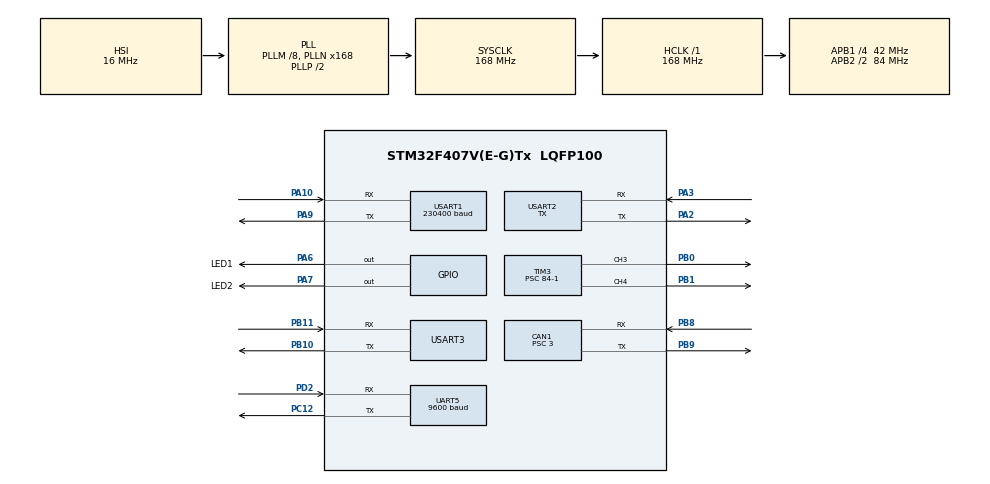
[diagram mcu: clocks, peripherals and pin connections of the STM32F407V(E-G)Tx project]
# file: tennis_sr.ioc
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CAN1.ABOM=ENABLE
CAN1.AWUM=ENABLE
CAN1.BS1=CAN_BS1_11TQ
CAN1.BS2=CAN_BS2_2TQ
CAN1.CalculateBaudRate=1000000
CAN1.CalculateTimeBit=1000
CAN1.CalculateTimeQuantum=71.42857142857143
CAN1.NART=ENABLE
CAN1.Prescaler=3
Dma.Request0=USART3_RX
Dma.USART3_RX.0.Direction=DMA_PERIPH_TO_MEMORY
Dma.USART3_RX.0.FIFOMode=DMA_FIFOMODE_DISABLE
Dma.USART3_RX.0.Instance=DMA1_Stream1
Dma.USART3_RX.0.MemDataAlignment=DMA_MDATAALIGN_BYTE
Dma.USART3_RX.0.MemInc=DMA_MINC_ENABLE
Dma.USART3_RX.0.Mode=DMA_NORMAL
Dma.USART3_RX.0.PeriphDataAlignment=DMA_PDATAALIGN_BYTE
Dma.USART3_RX.0.PeriphInc=DMA_PINC_DISABLE
Dma.USART3_RX.0.Priority=DMA_PRIORITY_LOW
FREERTOS.INCLUDE_vTaskDelayUntil=1
FREERTOS.Tasks01=imu_Task,0,512,Start_imu_Task,Default,NULL,Dynamic,NULL,NULL;chassis_Task,-3,512,Start_chassis_Task,Default,NULL,Dynamic,NULL,NULL;launcher_Task,-3,512,Start_launcher_Task,Default,NULL,Dynamic,NULL,NULL;can_Task,-3,512,Start_can_task,Default,NULL,Dynamic,NULL,NULL
Mcu.Family=STM32F4
Mcu.Name=STM32F407V(E-G)Tx
Mcu.Package=LQFP100
NVIC.CAN1_RX0_IRQn=true\:7\:0\:true\:false\:true\:true\:true\:true\:true
NVIC.DMA1_Stream1_IRQn=true\:5\:0\:false\:false\:true\:true\:false\:true\:true
NVIC.PriorityGroup=NVIC_PRIORITYGROUP_4
NVIC.TIM7_IRQn=true\:15\:0\:false\:false\:true\:false\:false\:true\:true
NVIC.TimeBase=TIM7_IRQn
NVIC.TimeBaseIP=TIM7
NVIC.UART5_IRQn=true\:5\:0\:false\:false\:true\:true\:true\:true\:true
NVIC.USART1_IRQn=true\:5\:0\:true\:false\:true\:true\:true\:true\:true
NVIC.USART3_IRQn=true\:12\:0\:true\:false\:true\:true\:true\:true\:true
PA10.Mode=Asynchronous
PA10.Signal=USART1_RX
PA2.Mode=Asynchronous
PA2.Signal=USART2_TX
PA3.Mode=Asynchronous
PA3.Signal=USART2_RX
PA6.GPIO_Label=LED1
PA6.PinState=GPIO_PIN_SET
PA6.Signal=GPIO_Output
PA7.GPIO_Label=LED2
PA7.PinState=GPIO_PIN_SET
PA7.Signal=GPIO_Output
PA9.Mode=Asynchronous
PA9.Signal=USART1_TX
PB0.Signal=S_TIM3_CH3
PB1.Signal=S_TIM3_CH4
PB10.Mode=Asynchronous
PB10.Signal=USART3_TX
PB11.Mode=Asynchronous
PB11.Signal=USART3_RX
PB8.Mode=CAN_Activate
PB8.Signal=CAN1_RX
PB9.Mode=CAN_Activate
PB9.Signal=CAN1_TX
PC12.Mode=Asynchronous
PC12.Signal=UART5_TX
PC14-OSC32_IN.Mode=LSE-External-Oscillator
PC14-OSC32_IN.Signal=RCC_OSC32_IN
PC15-OSC32_OUT.Mode=LSE-External-Oscillator
PC15-OSC32_OUT.Signal=RCC_OSC32_OUT
PD2.Mode=Asynchronous
PD2.Signal=UART5_RX
PH0-OSC_IN.Mode=HSE-External-Oscillator
PH0-OSC_IN.Signal=RCC_OSC_IN
PH1-OSC_OUT.Mode=HSE-External-Oscillator
PH1-OSC_OUT.Signal=RCC_OSC_OUT
ProjectManager.HeapSize=0x200
ProjectManager.StackSize=0x400
ProjectManager.TargetToolchain=MDK-ARM V5.32
RCC.48MHZClocksFreq_Value=84000000
RCC.AHBFreq_Value=168000000
RCC.APB1CLKDivider=RCC_HCLK_DIV4
RCC.APB1Freq_Value=42000000
RCC.APB1TimFreq_Value=84000000
RCC.APB2CLKDivider=RCC_HCLK_DIV2
RCC.APB2Freq_Value=84000000
RCC.APB2TimFreq_Value=168000000
RCC.CortexFreq_Value=168000000
RCC.HCLKFreq_Value=168000000
RCC.HSE_VALUE=8000000
RCC.HSI_VALUE=16000000
RCC.PLLM=8
RCC.PLLN=168
RCC.SYSCLKFreq_VALUE=168000000
RCC.SYSCLKSource=RCC_SYSCLKSOURCE_PLLCLK
RCC.VCOOutputFreq_Value=336000000
SH.S_TIM3_CH3.0=TIM3_CH3,PWM Generation3 CH3
SH.S_TIM3_CH4.0=TIM3_CH4,PWM Generation4 CH4
TIM2.Prescaler=84-1
TIM3.Channel-PWM\ Generation3\ CH3=TIM_CHANNEL_3
TIM3.Channel-PWM\ Generation4\ CH4=TIM_CHANNEL_4
TIM3.Period=20000-1
TIM3.Prescaler=84-1
UART5.BaudRate=9600
UART5.VirtualMode=Asynchronous
USART1.BaudRate=230400
USART1.Mode=MODE_TX_RX
USART1.VirtualMode=VM_ASYNC
USART2.Mode=MODE_TX
USART2.VirtualMode=VM_ASYNC
USART3.VirtualMode=VM_ASYNC
VP_FREERTOS_VS_CMSIS_V1.Mode=CMSIS_V1
VP_SYS_VS_tim7.Mode=TIM7
VP_TIM2_VS_ClockSourceINT.Mode=Internal
VP_TIM3_VS_ClockSourceINT.Mode=Internal
board=custom

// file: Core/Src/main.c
/* USER CODE BEGIN Header */
/**
  ******************************************************************************
  * @file           : main.c
  * @brief          : Main program body
  ******************************************************************************
  * @attention
  *
  * Copyright (c) 2026 STMicroelectronics.
  * All rights reserved.
  *
  * This software is licensed under terms that can be found in the LICENSE file
  * in the root directory of this software component.
  * If no LICENSE file comes with this software, it is provided AS-IS.
  *
  ******************************************************************************
  */
/* USER CODE END Header */
#include "main.h"
#include "cmsis_os.h"
#include "can.h"
#include "dma.h"
#include "tim.h"
#include "usart.h"
#include "gpio.h"

/* USER CODE BEGIN Includes */
#include "system.h"
#include "can_fifo.h"
#include "oid.h"
#include "pressure.h"

/* USER CODE END Includes */

void SystemClock_Config(void);
void MX_FREERTOS_Init(void);

int main(void)
{

  /* MCU Configuration--------------------------------------------------------*/

  /* Reset of all peripherals, Initializes the Flash interface and the Systick. */
  HAL_Init();

  /* Configure the system clock */
  SystemClock_Config();

  /* USER CODE BEGIN SysInit */
  can_fifo_init();

  /* USER CODE END SysInit */

  /* Initialize all configured peripherals */
  MX_GPIO_Init();
  MX_DMA_Init();
  MX_USART1_UART_Init();
  MX_USART3_UART_Init();
  MX_USART2_UART_Init();
  MX_UART5_Init();
  MX_CAN1_Init();
  MX_TIM3_Init();
  MX_TIM2_Init();
  /* USER CODE BEGIN 2 */
  /* Application modules are initialized before the RTOS starts. */
  flash_read_application_data();
  Pressure_Init(pressure_data);
  PidCtl_Init();
  oid_init();
  encoder_init();
  // servo_init(SERVO_1);
  // servo_init(SERVO_2);
  imu_init();
  /* USER CODE END 2 */

  /* Call init function for freertos objects (in cmsis_os2.c) */
  MX_FREERTOS_Init();

  /* Start scheduler */
  osKernelStart();

  /* We should never get here as control is now taken by the scheduler */

  /* Infinite loop */
  while (1)
  {

  }
}

void SystemClock_Config(void)
{
  RCC_OscInitTypeDef RCC_OscInitStruct = {0};
  RCC_ClkInitTypeDef RCC_ClkInitStruct = {0};

  /** Configure the main internal regulator output voltage
  */
  __HAL_RCC_PWR_CLK_ENABLE();
  __HAL_PWR_VOLTAGESCALING_CONFIG(PWR_REGULATOR_VOLTAGE_SCALE1);

  /** Initializes the RCC Oscillators according to the specified parameters
  * in the RCC_OscInitTypeDef structure.
  */
  RCC_OscInitStruct.OscillatorType = RCC_OSCILLATORTYPE_HSI;
  RCC_OscInitStruct.HSIState = RCC_HSI_ON;
  RCC_OscInitStruct.HSICalibrationValue = RCC_HSICALIBRATION_DEFAULT;
  RCC_OscInitStruct.PLL.PLLState = RCC_PLL_ON;
  RCC_OscInitStruct.PLL.PLLSource = RCC_PLLSOURCE_HSI;
  RCC_OscInitStruct.PLL.PLLM = 8;
  RCC_OscInitStruct.PLL.PLLN = 168;
  RCC_OscInitStruct.PLL.PLLP = RCC_PLLP_DIV2;
  RCC_OscInitStruct.PLL.PLLQ = 4;
  if (HAL_RCC_OscConfig(&RCC_OscInitStruct) != HAL_OK)
  {
    Error_Handler();
  }

  /** Initializes the CPU, AHB and APB buses clocks
  */
  RCC_ClkInitStruct.ClockType = RCC_CLOCKTYPE_HCLK|RCC_CLOCKTYPE_SYSCLK
                              |RCC_CLOCKTYPE_PCLK1|RCC_CLOCKTYPE_PCLK2;
  RCC_ClkInitStruct.SYSCLKSource = RCC_SYSCLKSOURCE_PLLCLK;
  RCC_ClkInitStruct.AHBCLKDivider = RCC_SYSCLK_DIV1;
  RCC_ClkInitStruct.APB1CLKDivider = RCC_HCLK_DIV4;
  RCC_ClkInitStruct.APB2CLKDivider = RCC_HCLK_DIV2;

  if (HAL_RCC_ClockConfig(&RCC_ClkInitStruct, FLASH_LATENCY_5) != HAL_OK)
  {
    Error_Handler();
  }
}

void HAL_TIM_PeriodElapsedCallback(TIM_HandleTypeDef *htim)
{
  if (htim->Instance == TIM7)
  {
    HAL_IncTick();
  }
}

void Error_Handler(void)
{
  __disable_irq();
  while (1)
  {
  }
}

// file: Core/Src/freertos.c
/* USER CODE BEGIN Header */
/**
  ******************************************************************************
  * File Name          : freertos.c
  * Description        : Code for freertos applications
  ******************************************************************************
  * @attention
  *
  * Copyright (c) 2026 STMicroelectronics.
  * All rights reserved.
  *
  * This software is licensed under terms that can be found in the LICENSE file
  * in the root directory of this software component.
  * If no LICENSE file comes with this software, it is provided AS-IS.
  *
  ******************************************************************************
  */
/* USER CODE END Header */

#include "FreeRTOS.h"
#include "task.h"
#include "main.h"
#include "cmsis_os.h"

/* USER CODE BEGIN Includes */
#include "system.h"
#include "launcher.h"
#include "oid.h"
#include "rk3588.h"
#include "imu_REG.h"
/* USER CODE END Includes */

osThreadId imu_TaskHandle;
osThreadId chassis_TaskHandle;
osThreadId launcher_TaskHandle;
osThreadId can_TaskHandle;

void Start_imu_Task(void const * argument);
void Start_chassis_Task(void const * argument);
void Start_launcher_Task(void const * argument);
void Start_can_task(void const * argument);

void MX_FREERTOS_Init(void); /* (MISRA C 2004 rule 8.1) */

/* GetIdleTaskMemory prototype (linked to static allocation support) */
void vApplicationGetIdleTaskMemory( StaticTask_t **ppxIdleTaskTCBBuffer, StackType_t **ppxIdleTaskStackBuffer, uint32_t *pulIdleTaskStackSize );

/* USER CODE BEGIN GET_IDLE_TASK_MEMORY */
static StaticTask_t xIdleTaskTCBBuffer;
static StackType_t xIdleStack[configMINIMAL_STACK_SIZE];

void vApplicationGetIdleTaskMemory( StaticTask_t **ppxIdleTaskTCBBuffer, StackType_t **ppxIdleTaskStackBuffer, uint32_t *pulIdleTaskStackSize )
{
  *ppxIdleTaskTCBBuffer = &xIdleTaskTCBBuffer;
  *ppxIdleTaskStackBuffer = &xIdleStack[0];
  *pulIdleTaskStackSize = configMINIMAL_STACK_SIZE;
  /* place for user code */
}
/* USER CODE END GET_IDLE_TASK_MEMORY */

void MX_FREERTOS_Init(void) {

  /* Create the thread(s) */
  /* definition and creation of imu_Task */
  osThreadDef(imu_Task, Start_imu_Task, osPriorityNormal, 0, 512);
  imu_TaskHandle = osThreadCreate(osThread(imu_Task), NULL);

  /* definition and creation of chassis_Task */
  osThreadDef(chassis_Task, Start_chassis_Task, osPriorityIdle, 0, 512);
  chassis_TaskHandle = osThreadCreate(osThread(chassis_Task), NULL);

  /* definition and creation of launcher_Task */
  osThreadDef(launcher_Task, Start_launcher_Task, osPriorityIdle, 0, 512);
  launcher_TaskHandle = osThreadCreate(osThread(launcher_Task), NULL);

  /* definition and creation of can_Task */
  osThreadDef(can_Task, Start_can_task, osPriorityIdle, 0, 512);
  can_TaskHandle = osThreadCreate(osThread(can_Task), NULL);

}

void Start_imu_Task(void const * argument)
{
  /* USER CODE BEGIN Start_imu_Task */
  /* Infinite loop */
  TickType_t lastWakeTime;
  const TickType_t taskPeriod = pdMS_TO_TICKS(5U);

  lastWakeTime = xTaskGetTickCount();
  /* Infinite loop */
  for(;;)
  {
    //HAL_GPIO_TogglePin(GPIOA, LED1_Pin | LED2_Pin);

    // if (imu_data_get() != 0U)
    // {
      (void)rk3588_data_send_int16x3(RK3588_CMD_IMU_GYRO, sReg[GX], sReg[GY], sReg[GZ]);
      (void)rk3588_data_send_int16x3(RK3588_CMD_IMU_ACCEL, sReg[AX], sReg[AY], sReg[AZ]);
      (void)rk3588_data_send_int16x3(RK3588_CMD_IMU_ATTITUDE, sReg[Pitch], sReg[Roll], sReg[Yaw]);
    // }

    // printf("%f,%f,%f\r\n",imu.pitch,imu.roll,imu.yaw_total);
    vTaskDelayUntil(&lastWakeTime, taskPeriod);
  }
  /* USER CODE END Start_imu_Task */
}

void Start_chassis_Task(void const * argument)
{
  /* USER CODE BEGIN Start_chassis_Task */
  TickType_t lastWakeTime;
  const TickType_t taskPeriod = pdMS_TO_TICKS(20U);

  vTaskDelay(pdMS_TO_TICKS(2000));

  lastWakeTime = xTaskGetTickCount();
  /* Infinite loop */
  for(;;)
  {

    Rk3588DataValue_t item;
    int16_t target[3];
    uint8_t chassis_enabled = (uint8_t)(rk3588_is_global_enabled() != 0U &&
        rk3588_data_is_enabled(RK3588_MANUAL_ENABLE_CHASSIS_MASK) != 0U);

    if (chassis_enabled == 0U)
    {
      (void)rk3588_data_clear(RK3588_CMD_TARGET_VELOCITY);
      R_Vel.X_target = 0.0f;
      R_Vel.Y_target = 0.0f;
      R_Vel.W_target = 0.0f;
    }
    else if (rk3588_data_get_value(RK3588_CMD_TARGET_VELOCITY, &item) &&
        item.time_info.valid && item.time_info.fresh &&
        rk3588_data_parse_int16x3(&item, target))
    {
      R_Vel.X_target = (float)target[0];
      R_Vel.Y_target = (float)target[1];
      R_Vel.W_target = (float)target[2] / 1000.0f;
    }

    // PidSet(&motor_speed_pid[0], wireless_test[6], wireless_test[7], wireless_test[8]);
    // PidSet(&motor_speed_pid[1], wireless_test[6], wireless_test[7], wireless_test[8]);
    // PidSet(&motor_speed_pid[2], wireless_test[6], wireless_test[7], wireless_test[8]);
    // PidSet(&motor_speed_pid[3], wireless_test[6], wireless_test[7], wireless_test[8]);
    // PidSet(&car_position_pid[0], wireless_test[9], wireless_test[10], wireless_test[11]);
    // PidSet(&car_position_pid[1], wireless_test[9], wireless_test[10], wireless_test[11]);
    // PidSet(&car_position_pid[2], wireless_test[9], wireless_test[10], wireless_test[11]);

      // R_Vel.X_target = 0.0f;
      // R_Vel.Y_target = 0.0f;
      // R_Vel.W_target = 0.0f;

      // R_Pos.X_global_target = (float)wireless_test[0];
      // R_Pos.Y_global_target = (float)wireless_test[1];
      // R_Pos.W_global_target = DEG_TO_RAD((float)wireless_test[2]);
    encoder_process();
    chassis_control_process(chassis_enabled);

    (void)rk3588_data_send_int16x3(RK3588_CMD_CHASSIS_VELOCITY, telemetry_float_to_int16(R_Vel.X), telemetry_float_to_int16(R_Vel.Y), telemetry_float_to_int16(R_Vel.W * 1000.0f));
    (void)rk3588_data_send_int16x3(RK3588_CMD_CHASSIS_POSITION, telemetry_float_to_int16(R_Pos.X_global / 10.0f), telemetry_float_to_int16(R_Pos.Y_global / 10.0f), telemetry_float_to_int16(R_Pos.W_global * 1000.0f));

      printf("%f,%f,%f,%f,%f,%f,%f,%f\r\n",
             R_Wheel_A.V_target, R_Wheel_A.V_real,
             R_Wheel_B.V_target, R_Wheel_B.V_real,
             R_Wheel_C.V_target, R_Wheel_C.V_real,
             R_Wheel_D.V_target, R_Wheel_D.V_real);

    //printf("%f,%f\r\n",R_Pos.W_global_target,imu.yaw_total);
  // Keep this high-rate telemetry trace disabled.
  // printf("%f,%f,%f,%f,%f,%f\r\n",R_Pos.X_body_error,R_Pos.Y_body_error,R_Pos.W_body_error,wireless_test[6],wireless_test[7],wireless_test[8]);
    vTaskDelayUntil(&lastWakeTime, taskPeriod);
  }
  /* USER CODE END Start_chassis_Task */
}

void Start_launcher_Task(void const * argument)
{
  /* USER CODE BEGIN Start_launcher_Task */
  TickType_t lastWakeTime;
  const TickType_t taskPeriod = pdMS_TO_TICKS(20U);

  vTaskDelay(pdMS_TO_TICKS(10));

  lastWakeTime = xTaskGetTickCount();
  /* Infinite loop */
  for(;;)
  {
    wireless_read();
    Pressure_Process(pressure_data);

// Rk3588DataValue_t enable_data;

// rk3588_data_get_value(RK3588_CMD_MANUAL_ENABLE, &enable_data);

// printf("chassis_enable=%ld valid=%u fresh=%u age=%lu ms\r\n",
//        (long)enable_data.value,
//        (unsigned)enable_data.time_info.valid,
//        (unsigned)enable_data.time_info.fresh,
//        (unsigned long)enable_data.time_info.age_ms);

    uint8_t launcher_enabled = (uint8_t)(rk3588_is_global_enabled() != 0U &&
        rk3588_data_is_enabled(RK3588_MANUAL_ENABLE_LAUNCHER_MASK) != 0U);
    // printf("chassis_enabled=%u, launcher_enabled=%u\r\n", (unsigned)chassis_enabled, (unsigned)launcher_enabled);

    // printf("%u,%u\r\n", pressure_data[0].value, pressure_data[1].value);

    // printf("%u,%u\r\n", pressure_data[0].value, pressure_data[1].value);
    // servo_set_angle(SERVO_1, wireless_test[4]);
    // servo_set_angle(SERVO_2, wireless_test[5]);
    // printf("%f,%f\r\n",wireless_test[4],wireless_test[5]);
    //printf("%f,%f,%f\r\n",imu.pitch,imu.roll,imu.yaw_total);
    vTaskDelayUntil(&lastWakeTime, taskPeriod);
  }
  /* USER CODE END Start_launcher_Task */
}

void Start_can_task(void const * argument)
{
  /* USER CODE BEGIN Start_can_task */
  TickType_t lastWakeTime;
  CanFifoFrame_t rx_frame;
  uint8_t can_task_5ms_counter = 0U;
  uint8_t can_task_20ms_counter = 0U;
  uint8_t can_task_100ms_counter = 0U;
  const TickType_t taskPeriod = pdMS_TO_TICKS(1);

  lastWakeTime = xTaskGetTickCount();

  for(;;)
  {
    while (can_fifo_rx_pop(&rx_frame) != 0U)
    {
      oid_handle_can_rx_frame(&rx_frame);
      rk3588_handle_can_rx_frame(&rx_frame);
    }

    can_task_5ms_counter++;
    if (can_task_5ms_counter >= 5)
    {
      can_task_5ms_counter = 0U;

      rk3588_refresh_freshness();
      oid_refresh_freshness();
      oid_process_speed_queries();  // �? 5 ms 查询�?个节点的速度�?6 个节点一轮约 30 ms
      oid_process_heartbeats();     // �? 5 ms 查询�?个节点的速度�?6 个节点一轮约 30 ms
    }

    can_task_20ms_counter++;
    if (can_task_20ms_counter >= 20)
    {
      can_task_20ms_counter = 0U;
      oid_process_queries();        //�? 20 ms 查询�?个节点的�?项非速度数据�?72 项轮询一轮约 1440 ms
    }

    can_task_100ms_counter++;
    if (can_task_100ms_counter >= 100)
    {
      can_task_100ms_counter = 0U;
      rk3588_send_heartbeat();
    }

    can_fifo_tx_process();

    vTaskDelayUntil(&lastWakeTime, taskPeriod);
  }
  /* USER CODE END Start_can_task */
}
